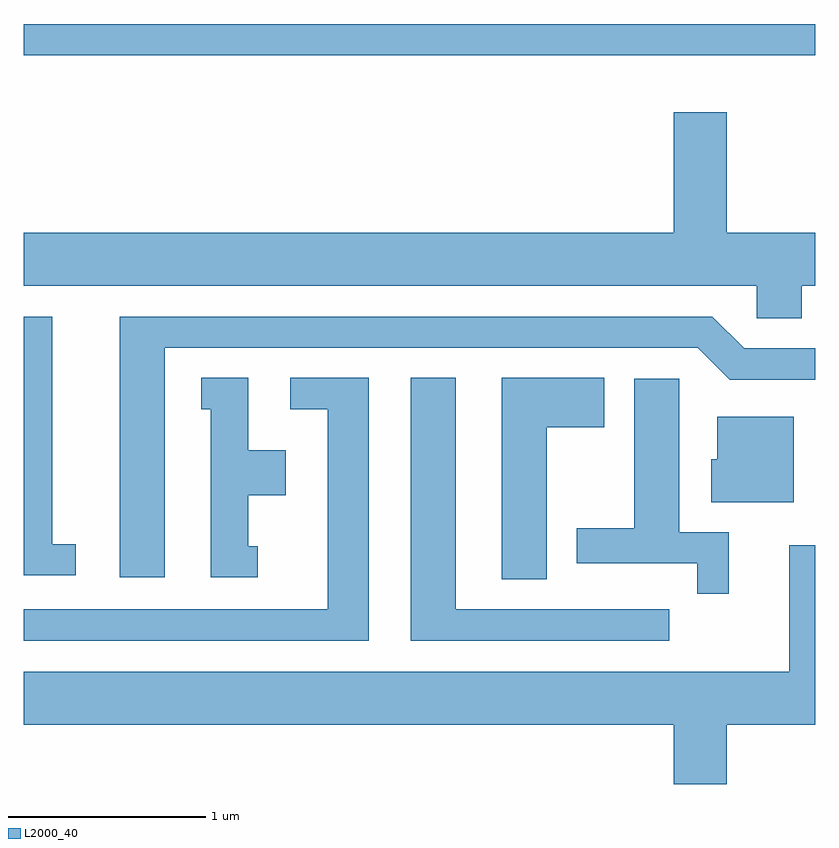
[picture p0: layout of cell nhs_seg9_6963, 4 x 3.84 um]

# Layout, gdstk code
import gdstk
lib = gdstk.Library(unit=1e-6, precision=1e-09)
def R(c, l, rs):  # rectangles x0, y0, x1, y1
    for r in rs: c.add(gdstk.rectangle(r[:2], r[2:], *l))
def P(c, l, *ps):  # polygons
    for p in ps: c.add(gdstk.Polygon(p, *l))
L2000_40 = (2000, 40)

nhs_seg9_6963 = lib.new_cell('nhs_seg9_6963')
R(nhs_seg9_6963, L2000_40, [(391.611,1964.121,395.611,1964.279)])
P(nhs_seg9_6963, L2000_40, [(395.544,1962.956),(395.611,1962.956),(395.611,1963.224),(395.164,1963.224),(395.164,1963.834),(394.896,1963.834),(394.896,1963.224),(391.611,1963.224),(391.611,1962.956),(395.316,1962.956),(395.316,1962.791),(395.544,1962.791)],
  [(392.324,1962.641),(395.019,1962.641),(395.179,1962.481),(395.611,1962.481),(395.611,1962.639),(395.252,1962.639),(395.092,1962.799),(392.096,1962.799),(392.096,1961.481),(392.324,1961.481)],
  [(391.873,1961.649),(391.754,1961.649),(391.754,1962.799),(391.611,1962.799),(391.611,1961.491),(391.873,1961.491)],
  [(394.254,1962.241),(394.544,1962.241),(394.544,1962.489),(394.026,1962.489),(394.026,1961.471),(394.254,1961.471)],
  [(392.793,1961.639),(392.744,1961.639),(392.744,1961.896),(392.934,1961.896),(392.934,1962.124),(392.744,1962.124),(392.744,1962.489),(392.508,1962.489),(392.508,1962.331),(392.556,1962.331),(392.556,1961.481),(392.793,1961.481)],
  [(394.873,1961.319),(393.794,1961.319),(393.794,1962.489),(393.566,1962.489),(393.566,1961.161),(394.873,1961.161)],
  [(393.354,1962.489),(392.958,1962.489),(392.958,1962.331),(393.146,1962.331),(393.146,1961.319),(391.611,1961.319),(391.611,1961.161),(393.354,1961.161)],
  [(395.174,1961.709),(394.924,1961.709),(394.924,1962.484),(394.696,1962.484),(394.696,1961.729),(394.406,1961.729),(394.406,1961.551),(395.016,1961.551),(395.016,1961.398),(395.174,1961.398)],
  [(395.504,1962.294),(395.116,1962.294),(395.116,1962.079),(395.086,1962.079),(395.086,1961.861),(395.504,1961.861)],
  [(391.611,1960.736),(394.896,1960.736),(394.896,1960.436),(395.164,1960.436),(395.164,1960.736),(395.611,1960.736),(395.611,1961.643),(395.481,1961.643),(395.481,1961.004),(391.611,1961.004)])

lib.write_gds('nhs_seg9_6963.gds')
